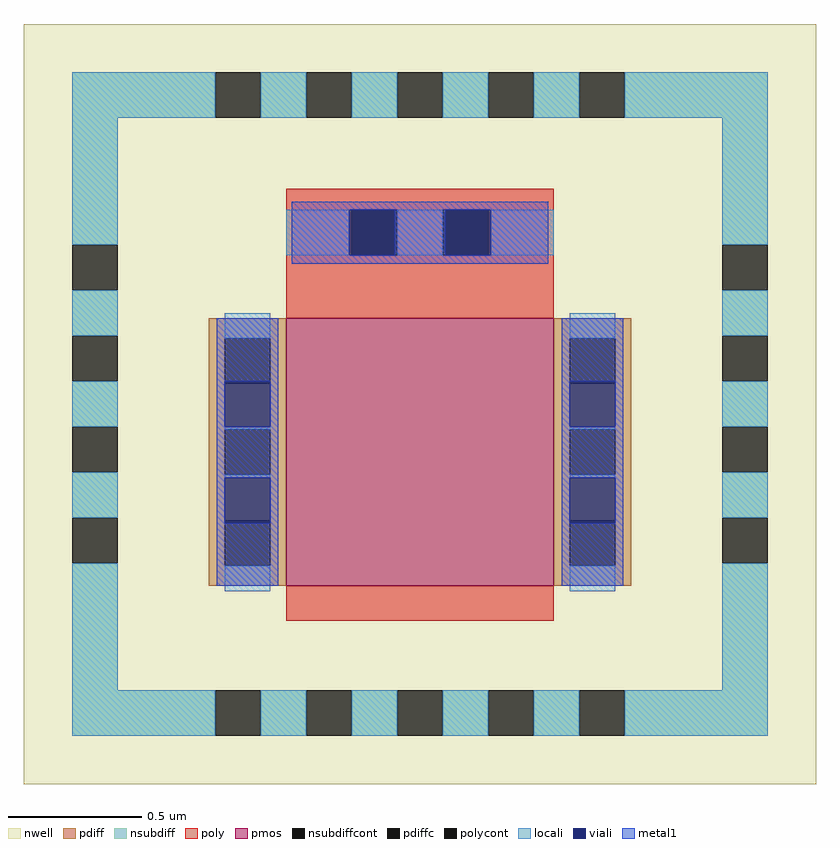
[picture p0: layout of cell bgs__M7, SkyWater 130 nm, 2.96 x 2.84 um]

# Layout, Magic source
magic
tech sky130A
magscale 1 2
<< nwell >>
rect -296 -284 296 284
<< pmos >>
rect -100 -136 100 64
<< pdiff >>
rect -158 49 -100 64
rect -158 15 -146 49
rect -112 15 -100 49
rect -158 -19 -100 15
rect -158 -53 -146 -19
rect -112 -53 -100 -19
rect -158 -87 -100 -53
rect -158 -121 -146 -87
rect -112 -121 -100 -87
rect -158 -136 -100 -121
rect 100 49 158 64
rect 100 15 112 49
rect 146 15 158 49
rect 100 -19 158 15
rect 100 -53 112 -19
rect 146 -53 158 -19
rect 100 -87 158 -53
rect 100 -121 112 -87
rect 146 -121 158 -87
rect 100 -136 158 -121
<< pdiffc >>
rect -146 15 -112 49
rect -146 -53 -112 -19
rect -146 -121 -112 -87
rect 112 15 146 49
rect 112 -53 146 -19
rect 112 -121 146 -87
<< nsubdiff >>
rect -260 214 -153 248
rect -119 214 -85 248
rect -51 214 -17 248
rect 17 214 51 248
rect 85 214 119 248
rect 153 214 260 248
rect -260 119 -226 214
rect -260 51 -226 85
rect 226 119 260 214
rect -260 -17 -226 17
rect -260 -85 -226 -51
rect -260 -214 -226 -119
rect 226 51 260 85
rect 226 -17 260 17
rect 226 -85 260 -51
rect 226 -214 260 -119
rect -260 -248 -153 -214
rect -119 -248 -85 -214
rect -51 -248 -17 -214
rect 17 -248 51 -214
rect 85 -248 119 -214
rect 153 -248 260 -214
<< nsubdiffcont >>
rect -153 214 -119 248
rect -85 214 -51 248
rect -17 214 17 248
rect 51 214 85 248
rect 119 214 153 248
rect -260 85 -226 119
rect 226 85 260 119
rect -260 17 -226 51
rect -260 -51 -226 -17
rect -260 -119 -226 -85
rect 226 17 260 51
rect 226 -51 260 -17
rect 226 -119 260 -85
rect -153 -248 -119 -214
rect -85 -248 -51 -214
rect -17 -248 17 -214
rect 51 -248 85 -214
rect 119 -248 153 -214
<< poly >>
rect -100 145 100 161
rect -100 111 -51 145
rect -17 111 17 145
rect 51 111 100 145
rect -100 64 100 111
rect -100 -162 100 -136
<< polycont >>
rect -51 111 -17 145
rect 17 111 51 145
<< locali >>
rect -260 214 -153 248
rect -119 214 -85 248
rect -51 214 -17 248
rect 17 214 51 248
rect 85 214 119 248
rect 153 214 260 248
rect -260 119 -226 214
rect -100 111 -53 145
rect -17 111 17 145
rect 53 111 100 145
rect 226 119 260 214
rect -260 51 -226 85
rect -260 -17 -226 17
rect -260 -85 -226 -51
rect -260 -214 -226 -119
rect -146 49 -112 68
rect -146 -19 -112 -17
rect -146 -55 -112 -53
rect -146 -140 -112 -121
rect 112 49 146 68
rect 112 -19 146 -17
rect 112 -55 146 -53
rect 112 -140 146 -121
rect 226 51 260 85
rect 226 -17 260 17
rect 226 -85 260 -51
rect 226 -214 260 -119
rect -260 -248 -153 -214
rect -119 -248 -85 -214
rect -51 -248 -17 -214
rect 17 -248 51 -214
rect 85 -248 119 -214
rect 153 -248 260 -214
<< viali >>
rect -53 111 -51 145
rect -51 111 -19 145
rect 19 111 51 145
rect 51 111 53 145
rect -146 15 -112 17
rect -146 -17 -112 15
rect -146 -87 -112 -55
rect -146 -89 -112 -87
rect 112 15 146 17
rect 112 -17 146 15
rect 112 -87 146 -55
rect 112 -89 146 -87
<< metal1 >>
rect -96 145 96 151
rect -96 111 -53 145
rect -19 111 19 145
rect 53 111 96 145
rect -96 105 96 111
rect -152 17 -106 64
rect -152 -17 -146 17
rect -112 -17 -106 17
rect -152 -55 -106 -17
rect -152 -89 -146 -55
rect -112 -89 -106 -55
rect -152 -136 -106 -89
rect 106 17 152 64
rect 106 -17 112 17
rect 146 -17 152 17
rect 106 -55 152 -17
rect 106 -89 112 -55
rect 146 -89 152 -55
rect 106 -136 152 -89
<< properties >>
string FIXED_BBOX -243 -231 243 231
<< end >>
